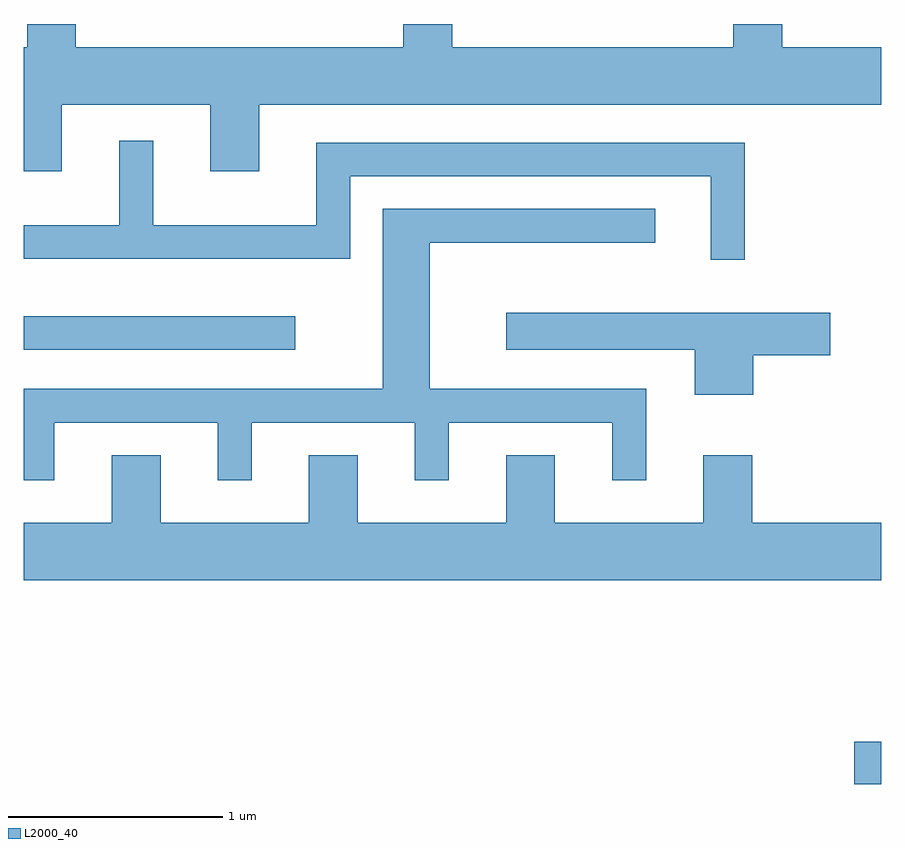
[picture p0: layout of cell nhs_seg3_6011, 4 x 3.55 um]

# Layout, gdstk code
import gdstk
lib = gdstk.Library(unit=1e-6, precision=1e-09)
def R(c, l, rs):  # rectangles x0, y0, x1, y1
    for r in rs: c.add(gdstk.rectangle(r[:2], r[2:], *l))
def P(c, l, *ps):  # polygons
    for p in ps: c.add(gdstk.Polygon(p, *l))
L2000_40 = (2000, 40)

nhs_seg3_6011 = lib.new_cell('nhs_seg3_6011')
R(nhs_seg3_6011, L2000_40, [(365.486,1178.346,365.611,1178.544), (361.611,1180.371,362.878,1180.529)])
P(nhs_seg3_6011, L2000_40, [(361.789,1181.516),(362.481,1181.516),(362.481,1181.206),(362.709,1181.206),(362.709,1181.516),(365.611,1181.516),(365.611,1181.784),(365.149,1181.784),(365.149,1181.892),(364.921,1181.892),(364.921,1181.784),(363.609,1181.784),(363.609,1181.892),(363.381,1181.892),(363.381,1181.784),(361.854,1181.784),(361.854,1181.892),(361.626,1181.892),(361.626,1181.784),(361.611,1181.784),(361.611,1181.206),(361.789,1181.206)],
  [(364.974,1181.339),(362.976,1181.339),(362.976,1180.954),(362.214,1180.954),(362.214,1181.348),(362.056,1181.348),(362.056,1180.954),(361.611,1180.954),(361.611,1180.796),(363.134,1180.796),(363.134,1181.181),(364.816,1181.181),(364.816,1180.793),(364.974,1180.793)],
  [(361.754,1180.031),(362.516,1180.031),(362.516,1179.763),(362.674,1179.763),(362.674,1180.031),(363.436,1180.031),(363.436,1179.763),(363.594,1179.763),(363.594,1180.031),(364.356,1180.031),(364.356,1179.763),(364.514,1179.763),(364.514,1180.189),(363.504,1180.189),(363.504,1180.871),(364.558,1180.871),(364.558,1181.029),(363.286,1181.029),(363.286,1180.189),(361.611,1180.189),(361.611,1179.763),(361.754,1179.763)],
  [(365.014,1180.346),(365.374,1180.346),(365.374,1180.544),(363.861,1180.544),(363.861,1180.371),(364.741,1180.371),(364.741,1180.161),(365.014,1180.161)],
  [(365.611,1179.564),(365.009,1179.564),(365.009,1179.879),(364.781,1179.879),(364.781,1179.564),(364.089,1179.564),(364.089,1179.879),(363.861,1179.879),(363.861,1179.564),(363.169,1179.564),(363.169,1179.879),(362.941,1179.879),(362.941,1179.564),(362.249,1179.564),(362.249,1179.879),(362.021,1179.879),(362.021,1179.564),(361.611,1179.564),(361.611,1179.296),(365.611,1179.296)])

lib.write_gds('nhs_seg3_6011.gds')
